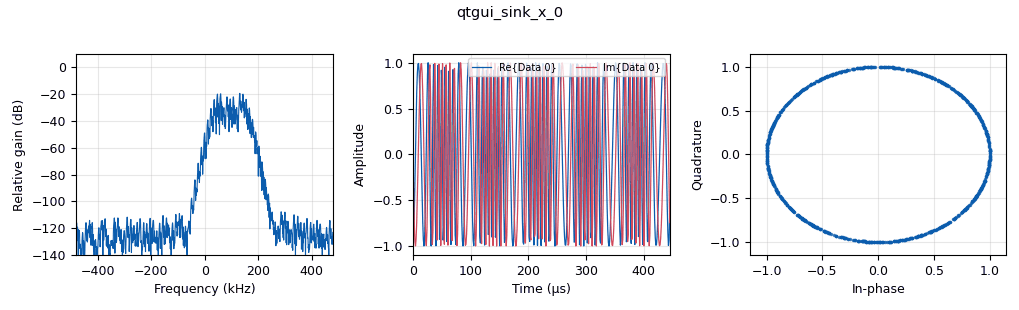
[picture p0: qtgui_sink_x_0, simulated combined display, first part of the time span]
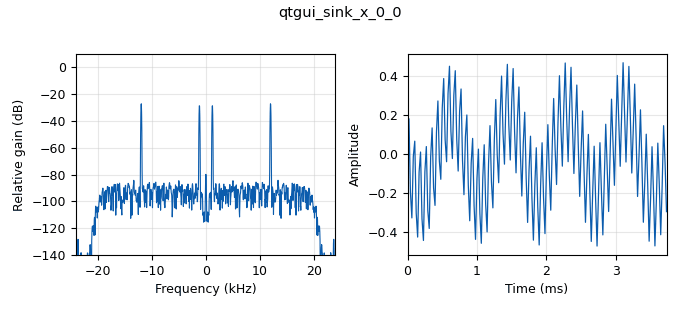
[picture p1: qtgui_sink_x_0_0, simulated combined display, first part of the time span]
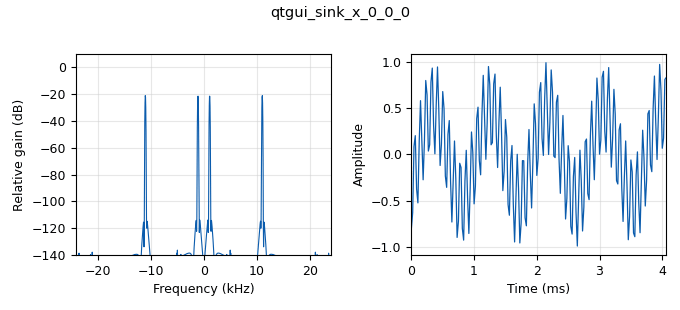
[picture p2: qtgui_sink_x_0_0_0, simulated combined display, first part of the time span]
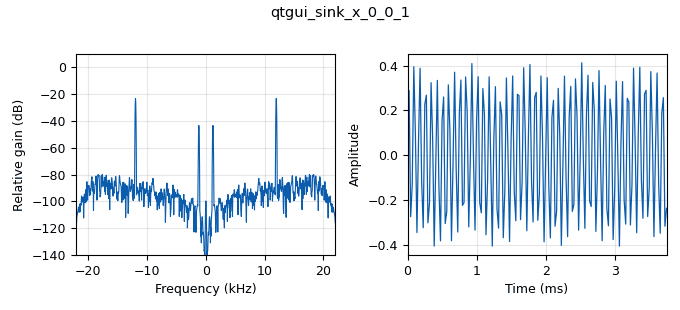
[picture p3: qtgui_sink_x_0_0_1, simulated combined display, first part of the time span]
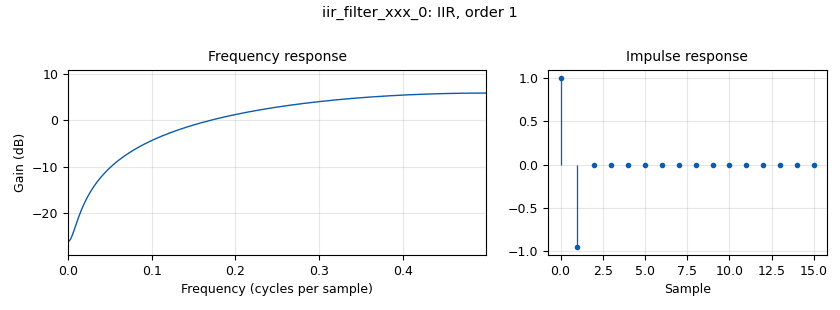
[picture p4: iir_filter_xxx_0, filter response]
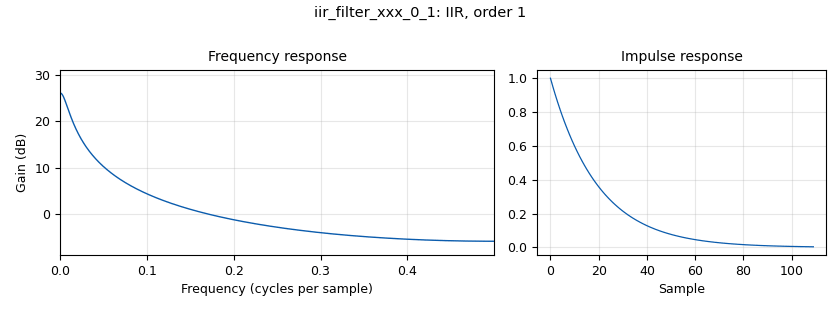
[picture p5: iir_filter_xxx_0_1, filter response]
options:
  parameters:
    generate_options: qt_gui
    id: fmmod
    output_language: python
    title: Not titled yet
  states: {}

blocks:
- name: noise
  id: variable_qtgui_range
  parameters:
    start: '0'
    step: '0.1'
    stop: '1'
    value: '0.2'
  states: {}
- name: samp_rate
  id: variable
  parameters:
    value: '48000'
  states: {}
- name: analog_noise_source_x_0
  id: analog_noise_source_x
  parameters:
    amp: noise
    noise_type: analog.GR_GAUSSIAN
    seed: '0'
    type: complex
  states: {}
- name: analog_phase_modulator_fc_0
  id: analog_phase_modulator_fc
  parameters:
    sensitivity: 2*3.14*75000
  states: {}
- name: analog_sig_source_x_0
  id: analog_sig_source_x
  parameters:
    amp: '0.5'
    freq: '11000'
    offset: '0'
    phase: '0'
    samp_rate: samp_rate
    type: float
    waveform: analog.GR_SIN_WAVE
  states: {}
- name: analog_sig_source_x_0_0
  id: analog_sig_source_x
  parameters:
    amp: '0.5'
    freq: '1100'
    offset: '0'
    phase: '0'
    samp_rate: samp_rate
    type: float
    waveform: analog.GR_SIN_WAVE
  states: {}
- name: analog_sig_source_x_1
  id: analog_sig_source_x
  parameters:
    amp: '1'
    freq: 100e3
    offset: '0'
    phase: '0'
    samp_rate: '960000'
    type: complex
    waveform: analog.GR_COS_WAVE
  states: {}
- name: blocks_add_xx_0
  id: blocks_add_xx
  parameters:
    type: float
  states: {}
- name: blocks_add_xx_1
  id: blocks_add_xx
  parameters:
    type: complex
  states: {}
- name: blocks_complex_to_arg_0
  id: blocks_complex_to_arg
  parameters: {}
  states: {}
- name: blocks_conjugate_cc_0
  id: blocks_conjugate_cc
  parameters: {}
  states: {}
- name: blocks_delay_0
  id: blocks_delay
  parameters:
    delay: '1'
    type: complex
  states: {}
- name: blocks_multiply_const_vxx_0
  id: blocks_multiply_const_vxx
  parameters:
    const: '1'
    type: float
  states: {}
- name: blocks_multiply_xx_0
  id: blocks_multiply_xx
  parameters:
    type: complex
  states: {}
- name: blocks_multiply_xx_1
  id: blocks_multiply_xx
  parameters:
    type: complex
  states: {}
- name: dc_blocker_xx_0
  id: dc_blocker_xx
  parameters:
    length: '512'
    long_form: 'True'
    type: ff
  states: {}
- name: iir_filter_xxx_0
  id: iir_filter_xxx
  parameters:
    fbtaps: '[1]'
    fftaps: '[1,-0.95]'
    type: ffd
  states: {}
- name: iir_filter_xxx_0_0
  id: iir_filter_xxx
  parameters:
    fbtaps: '[1,1]'
    fftaps: 1/48000
    type: ffd
  states: {}
- name: iir_filter_xxx_0_1
  id: iir_filter_xxx
  parameters:
    fbtaps: '[1,0.95]'
    fftaps: '[1]'
    type: ffd
  states: {}
- name: qtgui_sink_x_0
  id: qtgui_sink_x
  parameters:
    bw: '960000'
    fc: '0'
    fftsize: '1024'
    gui_hint: tab@1
    type: complex
  states: {}
- name: qtgui_sink_x_0_0
  id: qtgui_sink_x
  parameters:
    bw: '48000'
    fc: '0'
    fftsize: '1024'
    gui_hint: tab@2
    type: float
  states: {}
- name: qtgui_sink_x_0_0_0
  id: qtgui_sink_x
  parameters:
    bw: '48000'
    fc: '0'
    fftsize: '1024'
    gui_hint: tab@0
    type: float
  states: {}
- name: qtgui_sink_x_0_0_1
  id: qtgui_sink_x
  parameters:
    bw: '44100'
    fc: '0'
    fftsize: '1024'
    gui_hint: tab@3
    type: float
  states: {}
- name: rational_resampler_xxx_0_0
  id: rational_resampler_xxx
  parameters:
    decim: '960000'
    interp: '44100'
    type: fff
  states: {}
- name: rational_resampler_xxx_0_0_0
  id: rational_resampler_xxx
  parameters:
    decim: '48000'
    interp: '44100'
    type: fff
  states: {}
- name: rational_resampler_xxx_0_1
  id: rational_resampler_xxx
  parameters:
    decim: '48000'
    interp: '960000'
    type: fff
  states: {}
- name: rational_resampler_xxx_0_2
  id: rational_resampler_xxx
  parameters:
    decim: '44100'
    interp: '48000'
    type: fff
  states: {}
- name: tab
  id: qtgui_tab_widget
  parameters:
    label0: msg
    label1: mod
    label2: demod
    label3: before
    num_tabs: '4'
  states: {}
- name: virtual_sink_0
  id: virtual_sink
  parameters:
    stream_id: ww
  states: {}
- name: virtual_source_0
  id: virtual_source
  parameters:
    stream_id: ww
  states: {}

connections:
- [analog_noise_source_x_0, '0', blocks_add_xx_1, '1']
- [analog_phase_modulator_fc_0, '0', blocks_multiply_xx_0, '0']
- [analog_sig_source_x_0, '0', blocks_add_xx_0, '1']
- [analog_sig_source_x_0_0, '0', blocks_add_xx_0, '0']
- [analog_sig_source_x_1, '0', blocks_multiply_xx_0, '1']
- [blocks_add_xx_0, '0', qtgui_sink_x_0_0_0, '0']
- [blocks_add_xx_0, '0', rational_resampler_xxx_0_0_0, '0']
- [blocks_add_xx_1, '0', blocks_delay_0, '0']
- [blocks_add_xx_1, '0', blocks_multiply_xx_1, '0']
- [blocks_complex_to_arg_0, '0', dc_blocker_xx_0, '0']
- [blocks_conjugate_cc_0, '0', blocks_multiply_xx_1, '1']
- [blocks_delay_0, '0', blocks_conjugate_cc_0, '0']
- [blocks_multiply_const_vxx_0, '0', qtgui_sink_x_0_0, '0']
- [blocks_multiply_xx_0, '0', qtgui_sink_x_0, '0']
- [blocks_multiply_xx_0, '0', virtual_sink_0, '0']
- [blocks_multiply_xx_1, '0', blocks_complex_to_arg_0, '0']
- [dc_blocker_xx_0, '0', rational_resampler_xxx_0_0, '0']
- [iir_filter_xxx_0, '0', iir_filter_xxx_0_0, '0']
- [iir_filter_xxx_0_0, '0', rational_resampler_xxx_0_1, '0']
- [iir_filter_xxx_0_1, '0', rational_resampler_xxx_0_2, '0']
- [rational_resampler_xxx_0_0, '0', iir_filter_xxx_0_1, '0']
- [rational_resampler_xxx_0_0, '0', qtgui_sink_x_0_0_1, '0']
- [rational_resampler_xxx_0_0_0, '0', iir_filter_xxx_0, '0']
- [rational_resampler_xxx_0_1, '0', analog_phase_modulator_fc_0, '0']
- [rational_resampler_xxx_0_2, '0', blocks_multiply_const_vxx_0, '0']
- [virtual_source_0, '0', blocks_add_xx_1, '0']

metadata:
  file_format: 1
  grc_version: 3.10.7.0
